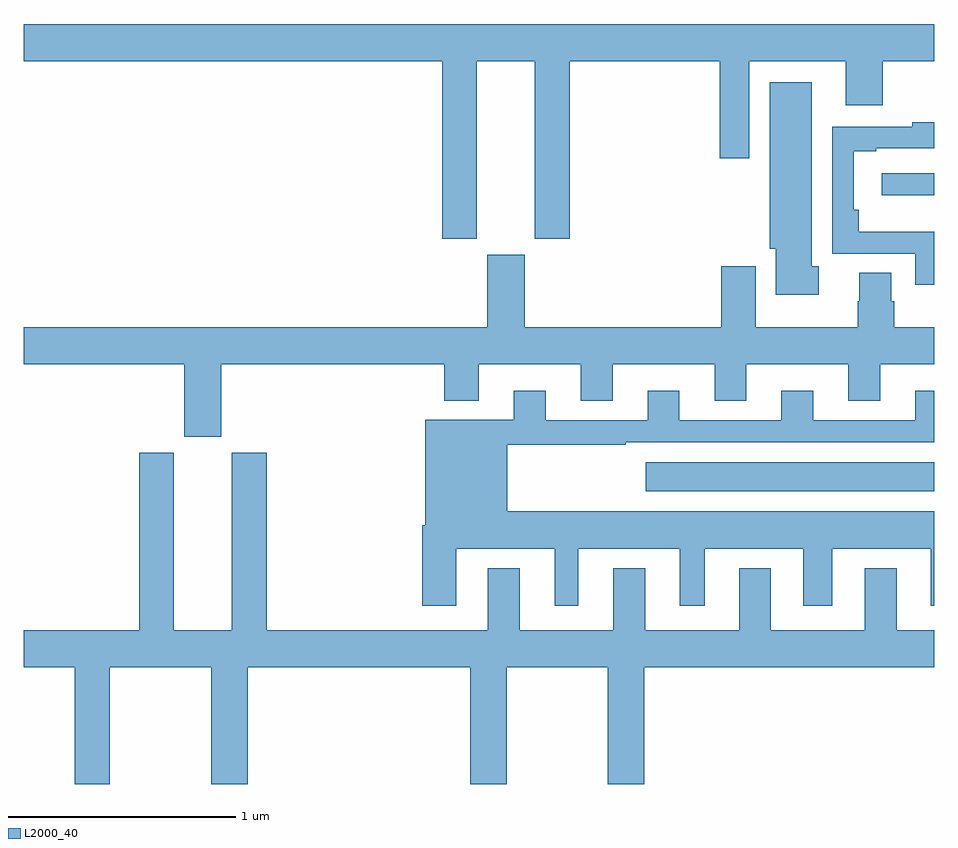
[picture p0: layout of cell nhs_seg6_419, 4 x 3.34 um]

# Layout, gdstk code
import gdstk
lib = gdstk.Library(unit=1e-6, precision=1e-09)
def R(c, l, rs):  # rectangles x0, y0, x1, y1
    for r in rs: c.add(gdstk.rectangle(r[:2], r[2:], *l))
def P(c, l, *ps):  # polygons
    for p in ps: c.add(gdstk.Polygon(p, *l))
L2000_40 = (2000, 40)

nhs_seg6_419 = lib.new_cell('nhs_seg6_419')
R(nhs_seg6_419, L2000_40, [(137.733,938.786,139,938.914), (138.771,940.088,139,940.185)])
P(nhs_seg6_419, L2000_40, [(136.99,940.676),(137.246,940.676),(137.246,939.897),(137.399,939.897),(137.399,940.676),(138.059,940.676),(138.059,940.251),(138.187,940.251),(138.187,940.676),(138.611,940.676),(138.611,940.482),(138.775,940.482),(138.775,940.676),(139,940.676),(139,940.84),(135,940.84),(135,940.676),(136.838,940.676),(136.838,939.897),(136.99,939.897)],
  [(138.493,939.776),(138.463,939.776),(138.463,940.585),(138.278,940.585),(138.278,939.852),(138.305,939.852),(138.305,939.65),(138.493,939.65)],
  [(139,939.928),(138.668,939.928),(138.668,940.024),(138.648,940.024),(138.648,940.281),(138.745,940.281),(138.745,940.293),(139,940.293),(139,940.408),(138.903,940.408),(138.903,940.389),(138.552,940.389),(138.552,939.831),(138.918,939.831),(138.918,939.695),(139,939.695)],
  [(135.868,939.344),(136.847,939.344),(136.847,939.185),(136.999,939.185),(136.999,939.344),(137.447,939.344),(137.447,939.184),(137.587,939.184),(137.587,939.344),(138.035,939.344),(138.035,939.184),(138.175,939.184),(138.175,939.344),(138.623,939.344),(138.623,939.184),(138.763,939.184),(138.763,939.344),(139,939.344),(139,939.508),(138.824,939.508),(138.824,939.621),(138.811,939.621),(138.811,939.746),(138.671,939.746),(138.671,939.621),(138.664,939.621),(138.664,939.508),(138.217,939.508),(138.217,939.775),(138.065,939.775),(138.065,939.508),(137.2,939.508),(137.2,939.825),(137.036,939.825),(137.036,939.508),(135,939.508),(135,939.344),(135.704,939.344),(135.704,939.027),(135.868,939.027)],
  [(136.9,938.534),(137.333,938.534),(137.333,938.283),(137.437,938.283),(137.437,938.534),(137.882,938.534),(137.882,938.283),(137.992,938.283),(137.992,938.534),(138.425,938.534),(138.425,938.283),(138.553,938.283),(138.553,938.534),(138.986,938.534),(138.986,938.283),(139,938.283),(139,938.698),(137.125,938.698),(137.125,938.991),(137.645,938.991),(137.645,939.003),(139,939.003),(139,939.229),(138.917,939.229),(138.917,939.099),(138.469,939.099),(138.469,939.229),(138.329,939.229),(138.329,939.099),(137.881,939.099),(137.881,939.229),(137.741,939.229),(137.741,939.099),(137.293,939.099),(137.293,939.229),(137.153,939.229),(137.153,939.1),(136.763,939.1),(136.763,938.638),(136.751,938.638),(136.751,938.283),(136.9,938.283)],
  [(137.039,938.176),(136.067,938.176),(136.067,938.955),(135.914,938.955),(135.914,938.176),(135.658,938.176),(135.658,938.955),(135.506,938.955),(135.506,938.176),(135,938.176),(135,938.012),(135.223,938.012),(135.223,937.5),(135.378,937.5),(135.378,938.012),(135.823,938.012),(135.823,937.5),(135.983,937.5),(135.983,938.012),(136.961,938.012),(136.961,937.5),(137.121,937.5),(137.121,938.012),(137.566,938.012),(137.566,937.5),(137.726,937.5),(137.726,938.012),(139,938.012),(139,938.176),(138.835,938.176),(138.835,938.449),(138.695,938.449),(138.695,938.176),(138.283,938.176),(138.283,938.449),(138.143,938.449),(138.143,938.176),(137.731,938.176),(137.731,938.449),(137.591,938.449),(137.591,938.176),(137.179,938.176),(137.179,938.449),(137.039,938.449)])

lib.write_gds('nhs_seg6_419.gds')
